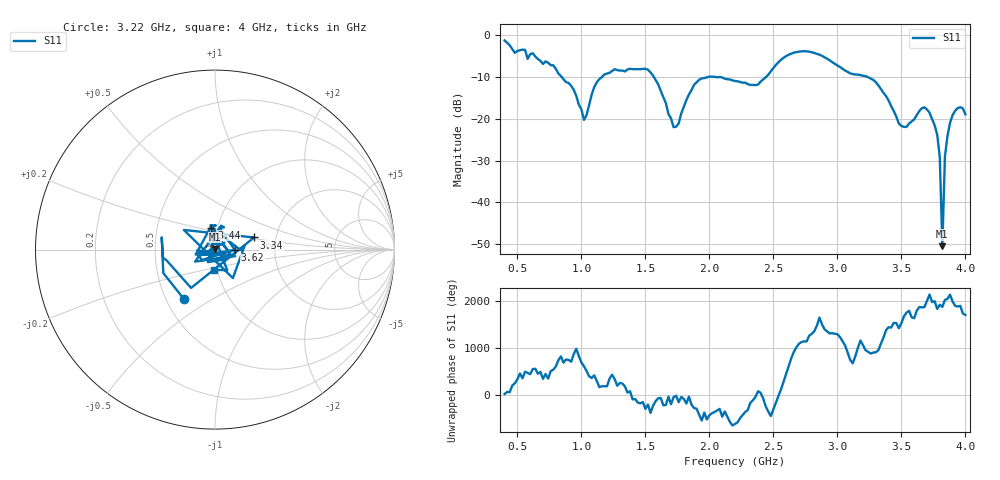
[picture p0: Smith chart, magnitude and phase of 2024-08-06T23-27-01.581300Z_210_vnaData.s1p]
!Created with skrf (http://scikit-rf.org).
# Hz S RI R 50.0
!freq ReS11 ImS11
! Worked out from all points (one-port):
!   181 points, 400 MHz to 4 GHz, reference 50 ohm
!   lowest |S11| = -50.5 dB at 3.82 GHz (marker M1), VSWR 1.01, Z = 50.1 + j0.292 ohm
!   |S11| at or under -10 dB: 1.567 GHz to 1.985 GHz (418.4 MHz wide, 23.6 % of centre); 2.087 GHz to 2.441 GHz (353.5 MHz wide, 15.6 % of centre); 3.24 GHz to end of sweep (the widest 3 of 5)
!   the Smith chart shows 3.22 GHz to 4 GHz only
!   S11 on the Smith chart (normalised r, x): 3.22 GHz: 0.62, -0.38; 3.34 GHz: 1.54, +0.22; 3.44 GHz: 0.93, +0.23; 3.62 GHz: 1.25, -0.01; 4 GHz: 0.96, -0.22
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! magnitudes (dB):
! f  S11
! 400 MHz  -1.2
! 860 MHz  -10.5
! 940 MHz  -13.0
! 1.02 GHz  -20.2
! 1.12 GHz  -11.2
! 1.3 GHz  -8.4
! 1.52 GHz  -8.2
! 1.72 GHz  -22.0
! 1.76 GHz  -21.1
! 1.92 GHz  -10.6
! 2.2 GHz  -10.9
! 2.38 GHz  -11.8
! 2.66 GHz  -4.1
! 3.1 GHz  -9.1
! 3.22 GHz  -9.8
! 3.34 GHz  -12.8
! 3.44 GHz  -18.1
! 3.5 GHz  -21.7
! 3.56 GHz  -21.1
! 3.62 GHz  -19.1
! 3.7 GHz  -17.8
! 3.78 GHz  -23.8
! 3.8 GHz  -29.2
! 3.82 GHz  -50.5
! 3.84 GHz  -29.1
! 3.86 GHz  -24.1
! 3.92 GHz  -18.1
! 4 GHz  -18.9
